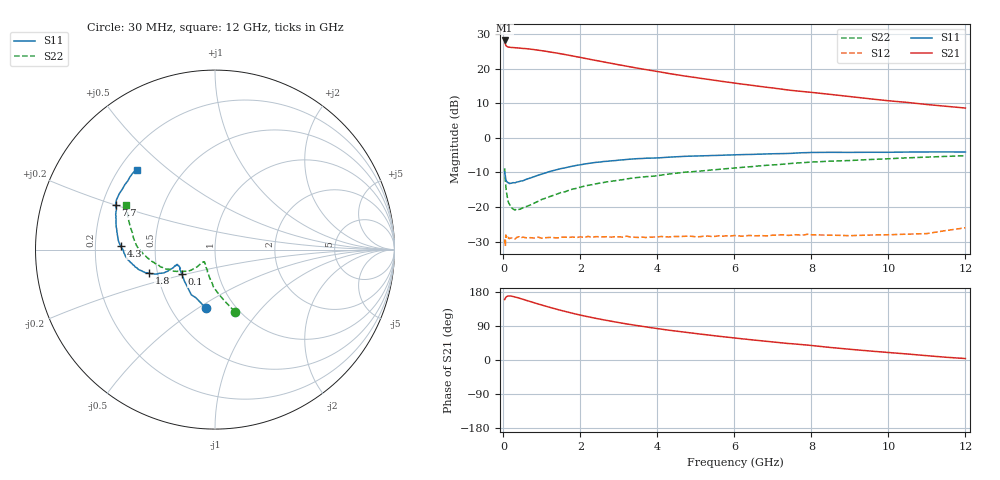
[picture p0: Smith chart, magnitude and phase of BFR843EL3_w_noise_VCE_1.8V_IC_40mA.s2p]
! Infineon Technologies  Discrete & RF Semiconductors
! BFR843EL3
! VCE =  1.8 V,  IC =  40 mA
! Common Emitter S-Parameters:  Aug 2013
# GHz  S  MA  R  50
!  f  S11  S21  S12  S22
! GHz  MAG  ANG  MAG  ANG  MAG  ANG  MAG  ANG
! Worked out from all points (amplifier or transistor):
!   103 points, 30 MHz to 12 GHz, reference 50 ohm
!   highest |S21| = 28.1 dB at 30 MHz (marker M1)
!   |S21| within 3 dB of that: start of sweep to 1.024 GHz
!   unconditionally stable (mu >= 1): 128.3 MHz to 1.123 GHz; 1.3944 GHz to 1.401332 GHz; 2.5 GHz to end of sweep (the widest 3 of 4)
!   at 400 MHz: K = 1.01, MAG = 26.7 dB, |S12| = -28.5 dB
!   at 3.7 GHz: K = 1.10, MAG = 22.3 dB, |S12| = -28.8 dB
!   at 12 GHz: K = 1.78, MAG = 12.2 dB, |S12| = -26.0 dB
!   lowest NFmin = 1.51 dB at 450 MHz
!   S11 on the Smith chart (normalised r, x): 30 MHz: 0.74, -0.54; 100 MHz: 0.67, -0.19; 1.8 GHz: 0.45, -0.14; 4.3 GHz: 0.31, +0.02; 7.7 GHz: 0.25, +0.20; 12 GHz: 0.27, +0.39
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0.03  0.3295 -98.9  25.44 159.4  0.032 24.4  0.3633 -72.3
0.04  0.2885 -111.7  23.55 161.5  0.0337 22.4  0.2857 -80.1
0.06  0.2498 -130.9  21.68 165.1  0.0396 20.4  0.2075 -92.5
0.1  0.2293 -144.1  20.69 168.2  0.0362 9.3  0.1395 -105.6
0.15  0.2189 -151.8  20.34 169.1  0.0351 8.0  0.1117 -116.3
0.25  0.2255 -157.0  20.09 167.6  0.0356 3.8  0.0939 -127.0
0.6  0.2527 -156.6  19.34 157.2  0.036 3.5  0.1023 -134.6
0.8  0.2753 -156.3  18.75 150.9  0.0357 4.1  0.1141 -135.5
1.1  0.3125 -155.5  17.75 142.0  0.0362 3.8  0.1349 -136.0
1.4  0.3487 -157.1  16.68 133.5  0.0358 4.1  0.1548 -137.8
1.8  0.3903 -160.3  15.19 123.2  0.0371 3.7  0.1819 -140.0
2.1  0.4179 -162.8  14.1 116.2  0.0365 5.8  0.2007 -143.0
2.6  0.4554 -167.8  12.47 106.0  0.0372 6.4  0.2265 -147.4
3.1  0.4809 -172.3  11.08 96.9  0.0369 7.9  0.249 -151.0
4.1  0.5165 179.3  8.867 81.5  0.0377 10.9  0.2896 -157.9
4.3  0.5254 178.0  8.48 78.6  0.037 10.5  0.3003 -159.3
5.1  0.5488 171.8  7.258 68.5  0.0374 13.5  0.3309 -165.4
6.1  0.5706 165.2  6.068 57.1  0.0385 16.1  0.3707 -171.8
7.7  0.6074 155.7  4.705 41.1  0.0395 21.2  0.4358 177.4
8.5  0.6177 149.7  4.231 33.0  0.0394 19.9  0.4609 171.3
10.5  0.6231 139.6  3.24 15.8  0.0407 31.3  0.5145 160.2
12  0.6243 134.4  2.691 3.9  0.0503 38.9  0.5514 153.5
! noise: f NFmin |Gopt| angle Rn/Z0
0.45  1.51  0.24  180  0.12
0.9  1.55  0.25  179  0.11
1.5  1.56  0.26  178  0.11
1.9  1.55  0.27  179  0.11
2.4  1.57  0.29  183  0.11
3.5  1.57  0.3  188  0.11
5.5  1.58  0.38  199  0.1
8  1.59  0.47  213  0.11
10  1.6  0.54  230  0.15
